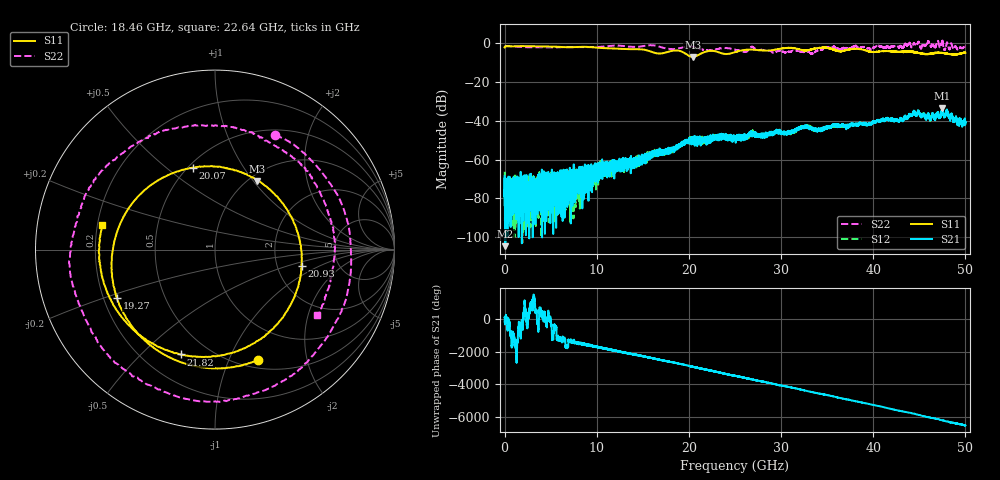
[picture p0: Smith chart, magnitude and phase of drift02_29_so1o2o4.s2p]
!Created with skrf (http://scikit-rf.org).
# Hz S RI R 50.0
!freq ReS11 ImS11 ReS21 ImS21 ReS12 ImS12 ReS22 ImS22
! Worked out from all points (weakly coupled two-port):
!   10001 points, 300 kHz to 50 GHz, reference 50 ohm
!   highest |S21| = -33.50 dB at 47.5 GHz (marker M1); lowest = -104.7 dB at 75.3 MHz (marker M2)
!   lowest |S11| = -6.9 dB at 20.41 GHz (marker M3), VSWR 2.63, Z = 54.5 + j52.3 ohm
!   |S11| at or under -10 dB: nowhere
!   |S22| runs from -5.3 to 1.6 dB; largest |S21 - S12| = 0.004
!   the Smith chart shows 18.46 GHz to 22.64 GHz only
!   S11 on the Smith chart (normalised r, x): 18.46 GHz: 0.59, -1.29; 19.27 GHz: 0.26, -0.22; 20.07 GHz: 0.53, +0.62; 20.93 GHz: 2.75, -0.66; 21.82 GHz: 0.35, -0.66; 22.64 GHz: 0.22, +0.10
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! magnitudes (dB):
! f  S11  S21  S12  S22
! 300 kHz  -2.1  -68.4  -66.2  -1.3
! 75.3 MHz  -1.5  -104.7  -70.7  -1.3
! 255.3 MHz  -1.4  -83.4  -72.5  -1.4
! 440.3 MHz  -1.4  -72.6  -91.4  -1.4
! 3.86 GHz  -1.5  -80.6  -76.4  -2.0
! 4.605 GHz  -1.6  -82.3  -75.1  -2.0
! 8.335 GHz  -1.7  -74.6  -69.4  -1.9
! 16.67 GHz  -5.2  -56.9  -58.0  -1.5
! 18.46 GHz  -3.6  -54.6  -54.4  -2.8
! 19.27 GHz  -4.3  -51.4  -51.7  -2.1
! 20.07 GHz  -6.5  -49.5  -49.5  -1.5
! 20.41 GHz  -6.9  -49.2  -51.4  -1.7
! 20.93 GHz  -6.2  -48.9  -51.3  -2.2
! 21.82 GHz  -4.2  -50.0  -49.7  -3.5
! 22.64 GHz  -3.9  -48.4  -48.9  -3.4
! 25 GHz  -4.5  -48.8  -48.5  -3.2
! 26.9 GHz  -3.2  -45.9  -46.3  -1.7
! 33.34 GHz  -3.0  -43.7  -43.8  -5.2
! 34.89 GHz  -2.2  -44.0  -43.6  -2.3
! 41.67 GHz  -4.0  -39.8  -39.2  -2.1
! 47.5 GHz  -4.9  -33.5  -34.0  1.1
! 50 GHz  -4.7  -40.8  -40.1  -1.5
